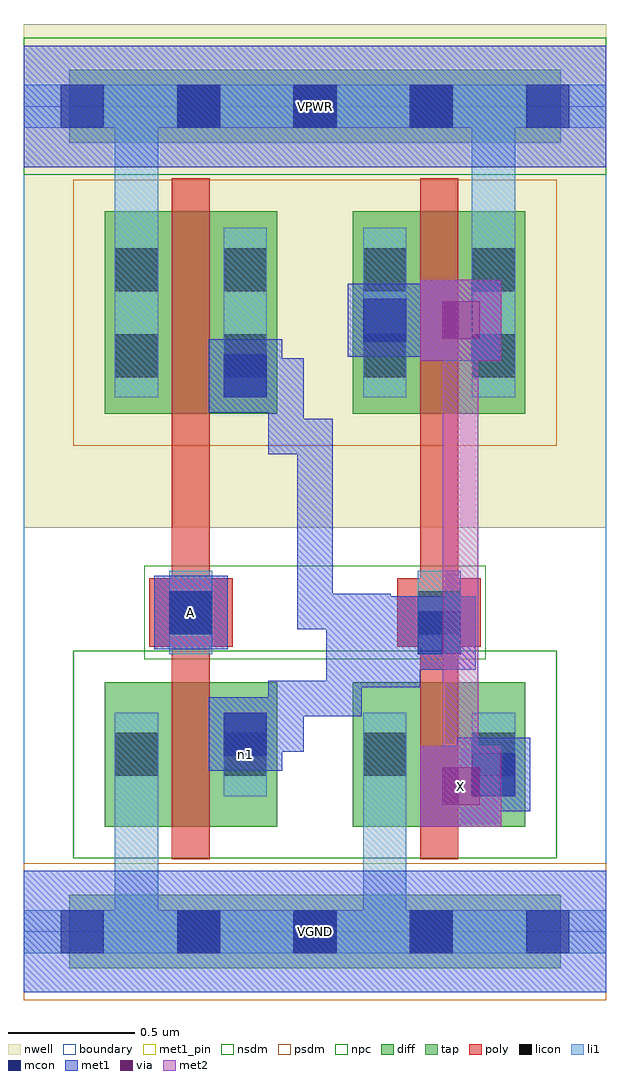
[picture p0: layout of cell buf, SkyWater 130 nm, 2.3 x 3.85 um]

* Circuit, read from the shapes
.subckt buf A VGND VPWR X n1
XM1 n1 A VGND VGND sky130_fd_pr__nfet_01v8 w=0.57 l=0.15
XM2 X n1 VGND VGND sky130_fd_pr__nfet_01v8 w=0.57 l=0.15
XM3 n1 A VPWR VPWR sky130_fd_pr__pfet_01v8 w=0.8 l=0.15
XM4 VPWR n1 X VPWR sky130_fd_pr__pfet_01v8 w=0.8 l=0.15
.ends

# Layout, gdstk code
import gdstk
lib = gdstk.Library(unit=1e-6, precision=1e-09)
def R(c, l, rs):  # rectangles x0, y0, x1, y1
    for r in rs: c.add(gdstk.rectangle(r[:2], r[2:], *l))
def A(c, l, x, y, w, h, nx, ny, dx, dy):  # array of equal rectangles
    R(c, l, [(x+i*dx, y+j*dy, x+i*dx+w, y+j*dy+h) for i in range(nx) for j in range(ny)])
nwell = (64, 20)
diff = (65, 20)
tap = (65, 44)
poly = (66, 20)
licon = (66, 44)
li1 = (67, 20)
mcon = (67, 44)
met1_pin = (68, 16)
met1 = (68, 20)
via = (68, 44)
met2 = (69, 20)
nsdm = (93, 44)
psdm = (94, 20)
npc = (95, 20)
boundary = (235, 4)

buf = lib.new_cell('buf')
R(buf, nwell, [(0,1.595,2.3,3.585)])
R(buf, diff, [(0.32,0.415,1,0.985), (1.3,0.415,1.98,0.985), (0.32,2.045,1,2.845), (1.3,2.045,1.98,2.845)])
R(buf, tap, [(0.18,-0.145,2.12,0.145), (0.18,3.115,2.12,3.405)])
R(buf, poly, [(0.585,0.285,0.735,2.975), (1.565,0.285,1.715,2.975), (0.495,1.125,0.825,1.395), (1.475,1.125,1.805,1.395)])
A(buf, licon, 0.605, -0.085, 0.17, 0.17, 3, 2, 0.46, 3.26)
R(buf, licon, [(0.36,0.615,0.53,0.785), (0.79,0.615,0.96,0.785), (1.34,0.615,1.51,0.785), (1.77,0.615,1.94,0.785), (0.575,1.175,0.745,1.345), (1.555,1.175,1.725,1.345), (0.36,2.19,0.53,2.36), (0.79,2.19,0.96,2.36), (1.34,2.19,1.51,2.36), (1.77,2.19,1.94,2.36), (0.36,2.53,0.53,2.7), (0.79,2.53,0.96,2.7), (1.34,2.53,1.51,2.7), (1.77,2.53,1.94,2.7)])
R(buf, li1, [(0,-0.085,2.3,0.085), (0.36,-0.085,0.53,0.865), (1.34,-0.085,1.51,0.865), (0.36,0.535,0.53,0.865), (0.79,0.535,0.96,0.865), (1.34,0.535,1.51,0.865), (1.77,0.535,1.94,0.865), (0.575,1.095,0.745,1.425), (1.555,1.095,1.725,1.425), (0.36,2.11,0.53,2.78), (0.36,2.11,0.53,3.345), (0.79,2.11,0.96,2.78), (1.34,2.11,1.51,2.78), (1.77,2.11,1.94,2.78), (1.77,2.11,1.94,3.345), (0,3.175,2.3,3.345)])
A(buf, mcon, 0.145, -0.085, 0.17, 0.17, 5, 2, 0.46, 3.26)
R(buf, mcon, [(1.77,0.535,1.94,0.705), (0.79,0.695,0.96,0.865), (1.555,1.095,1.725,1.265), (0.575,1.175,0.745,1.345), (0.79,2.11,0.96,2.28), (1.34,2.33,1.51,2.5)])
R(buf, met1_pin, [(0,-0.24,2.3,0.24), (1.565,0.415,1.885,0.735), (0.515,1.115,0.805,1.405), (0,3.02,2.3,3.5)])
R(buf, met1, [(0,-0.24,2.3,0.24), (1.565,0.415,1.885,0.735), (1.71,0.475,2,0.765), (1.655,0.505,1.795,0.69), (1.655,0.55,1.925,0.69), (0.73,0.635,1.02,0.925), (0.805,0.71,1.105,0.85), (0.965,0.71,1.105,0.99), (0.965,0.85,1.335,0.99), (1.195,0.85,1.335,1.105), (1.195,0.965,1.565,1.105), (1.31,0.965,1.45,1.335), (1.425,0.965,1.565,1.25), (1.45,1.035,1.495,1.325), (1.495,1.035,1.785,1.325), (1.195,1.105,1.335,1.195), (1.195,1.105,1.45,1.195), (1.195,1.105,1.22,1.195), (1.425,1.11,1.71,1.25), (0.515,1.115,0.805,1.405), (1.08,1.195,1.45,1.335), (1.08,1.195,1.22,2.025), (1.45,1.195,1.495,1.325), (0.965,1.885,1.105,2.14), (0.965,1.885,1.22,2.025), (0.965,2,1.105,2.265), (0.73,2.05,1.02,2.34), (0.805,2.125,1.105,2.265), (1.565,2.255,1.885,2.575), (1.28,2.27,1.57,2.56), (1.355,2.345,1.68,2.485), (1.54,2.345,1.795,2.485), (0,3.02,2.3,3.5)])
R(buf, via, [(1.65,0.5,1.8,0.65), (1.65,2.34,1.8,2.49)])
R(buf, met2, [(1.565,0.415,1.885,0.735), (1.655,0.505,1.795,2.485), (1.565,2.255,1.885,2.575)])
R(buf, nsdm, [(0.195,0.29,2.105,1.11), (0,2.99,2.3,3.53)])
R(buf, psdm, [(0,-0.27,2.3,0.27), (0.195,1.92,2.105,2.97)])
R(buf, npc, [(0.475,1.075,1.825,1.445)])
R(buf, boundary, [(0,0,2.3,3.26)])
buf.add(gdstk.Label('n1', (0.875,0.7), layer=67, texttype=5))
buf.add(gdstk.Label('A', (0.66,1.26), layer=68, texttype=5))
buf.add(gdstk.Label('X', (1.725,0.575), layer=68, texttype=5))
buf.add(gdstk.Label('VPWR', (1.15,3.26), layer=68, texttype=5))
buf.add(gdstk.Label('VGND', (1.15,0), layer=68, texttype=5))
buf.add(gdstk.Label('A', (0.66,1.26), layer=68, texttype=16))
buf.add(gdstk.Label('X', (1.725,0.575), layer=68, texttype=16))
buf.add(gdstk.Label('VPWR', (1.15,3.26), layer=68, texttype=16))
buf.add(gdstk.Label('VGND', (1.15,0), layer=68, texttype=16))

lib.write_gds('buf.gds')
